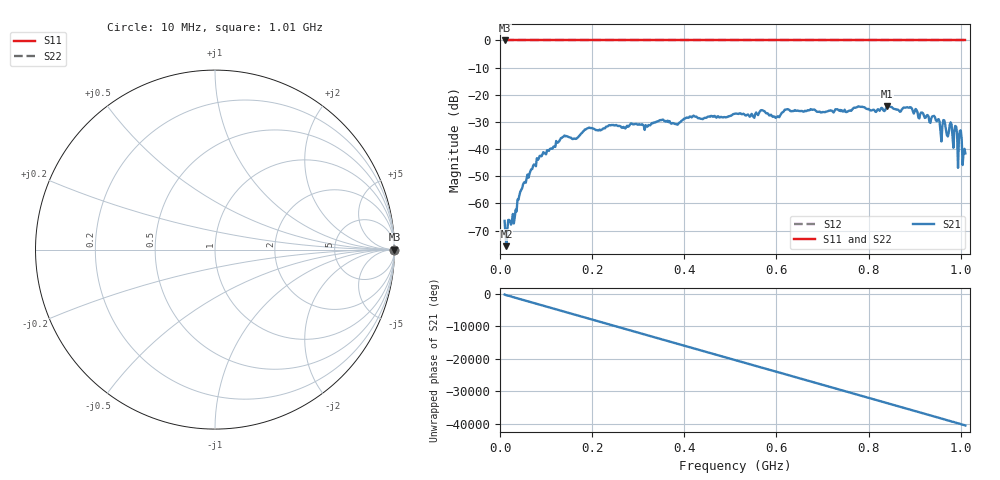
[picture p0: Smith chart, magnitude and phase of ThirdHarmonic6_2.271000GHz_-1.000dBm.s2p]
! 8/17/2025 2:52:36 AM
! C:\ANRITSUVNA\TEMP\TEMP.S2P
! CHANNEL.1
! TR.MEASUREMENT
! RAW.DATA
! RF.CORRECTION.OFF
! AVERAGING.OFF
! IF.BANDWIDTH: 5KHZ
! SWEEPTYPE:  FREQ.SWEEP(Linear)
! Reference Plane Port Info
! PORT:  PORT1  PORT2
! DISTANCE:  0  m  0  m
! TIME:  0  s  0  s
! PHASE.OFFSET:  0  deg.  0  deg.
! LOSS:  0  dB  0  dB
! REF.LOSS:  0  dB  0  dB
! REF.FREQ:  0  Hz  0  Hz
! Power Info
! POWER:  -20  dBm  -20  dBm
! EFF.POWER:  -20  dBm  -20  dBm
! SOURCE.ATTEN:  0  dB  0  dB
! TEST.ATTEN:  0  dB  0  dB
# GHZ S RI R 50.0
! FREQ.GHZ  S11RE  S11IM  S21RE  S21IM  S12RE  S12IM  S22RE  S22IM
!; PortSelection: Port_12
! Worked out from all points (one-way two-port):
!   501 points, 10 MHz to 1.01 GHz, reference 50 ohm
!   highest |S21| = -24.22 dB at 840 MHz (marker M1); lowest = -75.7 dB at 14 MHz (marker M2)
!   lowest |S11| = 0.0 dB at 10 MHz (marker M3)
!   |S11| at or under -10 dB: nowhere
!   |S22| runs from 0.0 to 0.0 dB; largest |S21 - S12| = 1.1
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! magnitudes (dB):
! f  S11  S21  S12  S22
! 10 MHz  0.0  -66.4  0.0  0.0
! 14 MHz  0.0  -75.7  0.0  0.0
! 32 MHz  0.0  -65.1  0.0  0.0
! 48 MHz  0.0  -54.4  0.0  0.0
! 84 MHz  0.0  -43.6  0.0  0.0
! 136 MHz  0.0  -35.6  0.0  0.0
! 178 MHz  0.0  -34.0  0.0  0.0
! 344 MHz  0.0  -29.7  0.0  0.0
! 382 MHz  0.0  -30.7  0.0  0.0
! 510 MHz  0.0  -27.0  0.0  0.0
! 570 MHz  0.0  -25.7  0.0  0.0
! 602 MHz  0.0  -27.9  0.0  0.0
! 622 MHz  0.0  -25.4  0.0  0.0
! 678 MHz  0.0  -25.5  0.0  0.0
! 840 MHz  0.0  -24.2  0.0  0.0
! 844 MHz  0.0  -24.4  0.0  0.0
! 942 MHz  0.0  -27.8  0.0  0.0
! 956 MHz  0.0  -33.7  0.0  0.0
! 964 MHz  0.0  -29.4  0.0  0.0
! 970 MHz  0.0  -34.9  0.0  0.0
! 988 MHz  0.0  -31.5  0.0  0.0
! 1.01 GHz  0.0  -41.6  0.0  0.0
